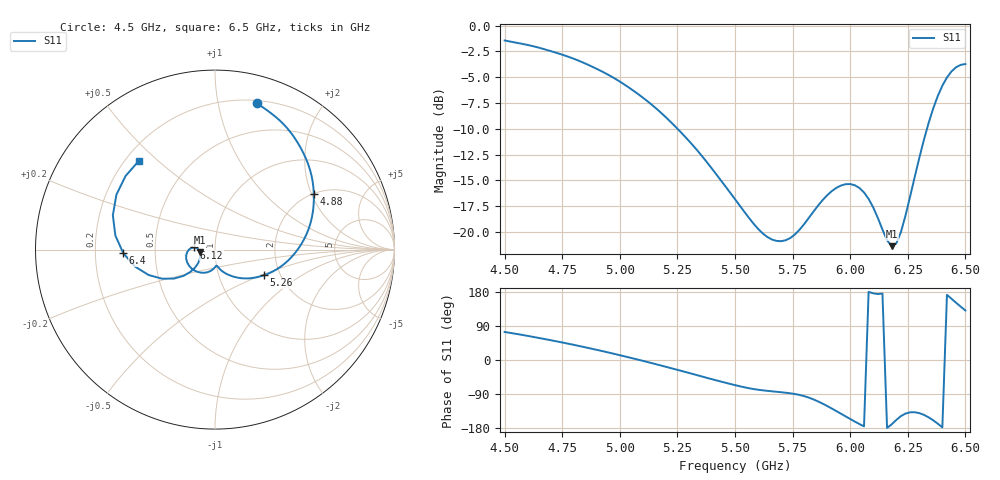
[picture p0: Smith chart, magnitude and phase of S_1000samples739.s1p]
! TOUCHSTONE file generated by CST MICROWAVE STUDIO
! Date and time: Sat Oct 29 05:32:06 2022
! Project name: L.cst
! Parameters = {Di=1.27; Epsilon_r=1.56; InnerDiameter=1.27; Length=2; Lf=10; Lg=60; OuterConductorThickness=0.2921; OuterDiameter=3.6; Wf=3; Wp=41.2; de=1.5; df=6.8; g=0.8; gx=1.65577; gy=3.05903; h=2.34; hf=1.524; px=12.5001; py=8.33513; w=9.7; wx=10.8444; wy=5.27611}
! Header version: 2018
! Port assignment regex: !\s*Touchstone port\s*([0-9]+)\s*=\s*(CST MWS port|CST DS port)\s*([0-9]+|Zmin|Zmax)\s*\(\"(.*)\"\)(\s*mode\s*([0-9]+))?.*
! Touchstone port assignment:
! Touchstone port 1 = CST MWS port 1 ("")
# GHz S DB R 50
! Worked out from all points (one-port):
!   101 points, 4.5 GHz to 6.5 GHz, reference 50 ohm
!   lowest |S11| = -21.4 dB at 6.18 GHz (marker M1), VSWR 1.19, Z = 42.2 - j1.29 ohm
!   |S11| at or under -10 dB: 5.25 GHz to 6.333 GHz (1.083 GHz wide, 18.7 % of centre)
!   S11 on the Smith chart (normalised r, x): 4.5 GHz: 0.23, +1.30; 4.88 GHz: 2.01, +2.08; 5.26 GHz: 1.65, -0.52; 6.12 GHz: 0.79, +0.02; 6.4 GHz: 0.32, -0.02; 6.5 GHz: 0.25, +0.43
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4.5  -1.44 74.0
4.62  -1.98 61.4
4.76  -2.89 45.0
4.88  -3.98 29.5
5  -5.42 12.7
5.14  -7.69 -8.4
5.26  -10.22 -27.6
5.36  -12.74 -44.1
5.5  -16.83 -66.3
5.64  -20.49 -81.4
5.7  -20.90 -85.0
5.76  -20.25 -89.7
5.9  -16.45 -121.4
6  -15.36 -155.7
6.06  -16.18 -175.1
6.12  -18.65 174.1
6.16  -20.81 -179.3
6.18  -21.39 -169.8
6.2  -21.13 -158.3
6.22  -20.03 -148.1
6.26  -16.58 -138.1
6.3  -12.82 -140.2
6.34  -9.47 -151.1
6.38  -6.83 -168.0
6.4  -5.83 -177.8
6.44  -4.43 161.4
6.46  -4.03 150.9
6.5  -3.72 130.8
